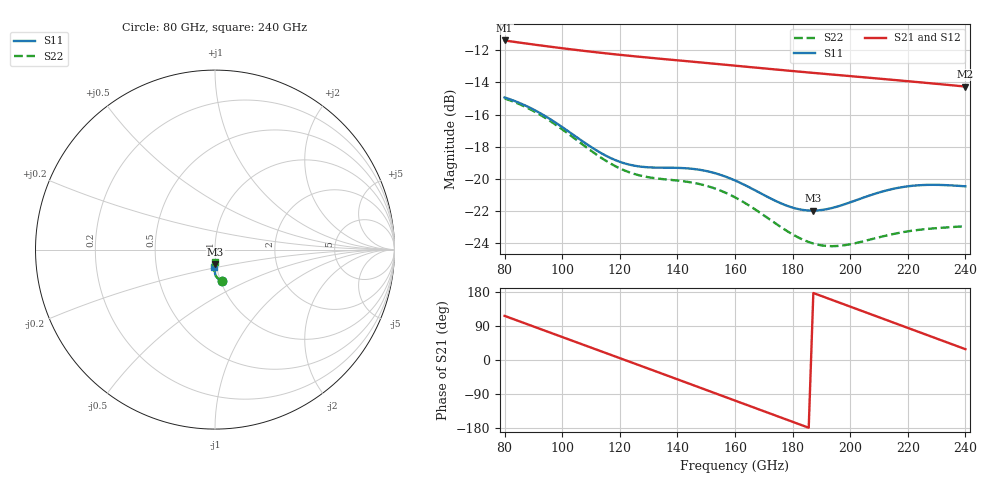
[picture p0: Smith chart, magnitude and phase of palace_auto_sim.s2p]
#  GHZ S DB R 50
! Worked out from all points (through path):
!   101 points, 80 GHz to 240 GHz, reference 50 ohm
!   highest |S21| = -11.38 dB at 80 GHz (marker M1); lowest = -14.3 dB at 240 GHz (marker M2)
!   group delay of S21, straight-line fit = 7.78 ps
!   lowest |S11| = -22.0 dB at 187.2 GHz (marker M3), VSWR 1.17, Z = 49.5 - j7.91 ohm
!   |S11| at or under -10 dB: start of sweep to end of sweep
!   |S22| runs from -24.2 to -15.0 dB; largest |S21 - S12| = 3.6e-13
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80  -14.93 -77.3  -11.38 116.4  -11.38 116.4  -15.00 -77.0
86.4  -15.37 -81.2  -11.54 98.6  -11.54 98.6  -15.45 -81.1
92.8  -15.96 -85.0  -11.70 80.7  -11.70 80.7  -16.06 -85.2
99.2  -16.69 -88.0  -11.84 62.9  -11.84 62.9  -16.82 -88.7
107.2  -17.68 -90.0  -12.02 40.6  -12.02 40.6  -17.89 -91.3
113.6  -18.42 -90.0  -12.15 22.7  -12.15 22.7  -18.71 -91.8
120  -18.95 -88.8  -12.27 4.9  -12.27 4.9  -19.36 -91.1
126.4  -19.23 -87.4  -12.39 -12.9  -12.39 -12.9  -19.78 -90.0
134.4  -19.32 -87.0  -12.52 -35.3  -12.52 -35.3  -20.02 -89.5
147.2  -19.43 -90.0  -12.74 -71.2  -12.74 -71.2  -20.32 -92.7
153.6  -19.69 -92.5  -12.84 -89.1  -12.84 -89.1  -20.65 -95.3
160  -20.11 -94.6  -12.95 -107.1  -12.95 -107.1  -21.17 -97.9
166.4  -20.67 -95.8  -13.06 -125.0  -13.06 -125.0  -21.85 -99.7
174.4  -21.41 -95.0  -13.19 -147.4  -13.19 -147.4  -22.83 -99.7
180.8  -21.85 -92.5  -13.30 -165.3  -13.30 -165.3  -23.56 -97.7
187.2  -21.99 -89.2  -13.40 176.7  -13.40 176.7  -24.05 -94.2
193.6  -21.84 -86.3  -13.50 158.8  -13.50 158.8  -24.21 -90.2
201.6  -21.38 -84.7  -13.63 136.4  -13.63 136.4  -24.03 -86.5
214.4  -20.66 -86.7  -13.83 100.5  -13.83 100.5  -23.48 -85.0
220.8  -20.46 -88.8  -13.93 82.5  -13.93 82.5  -23.27 -85.6
227.2  -20.39 -91.1  -14.04 64.5  -14.04 64.5  -23.13 -86.5
240  -20.48 -94.8  -14.25 28.6  -14.25 28.6  -22.97 -88.4
